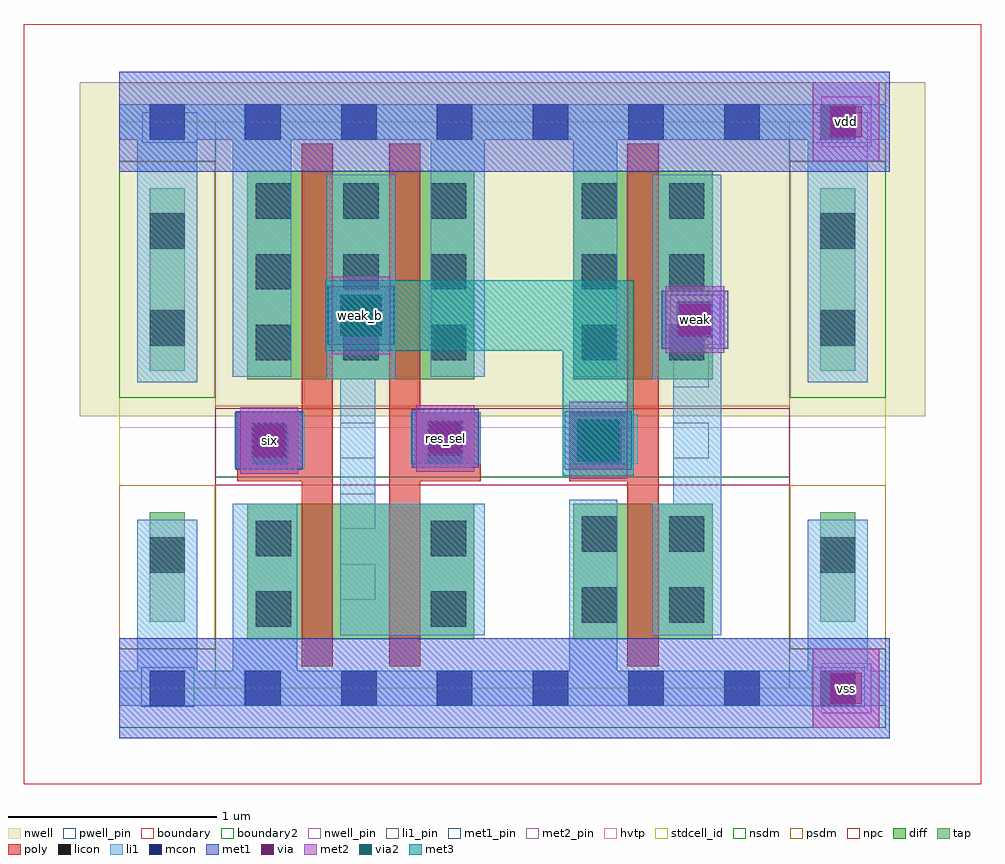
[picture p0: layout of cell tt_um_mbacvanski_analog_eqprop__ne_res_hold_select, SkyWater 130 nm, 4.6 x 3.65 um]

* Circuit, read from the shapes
.subckt tt_um_mbacvanski_analog_eqprop__ne_res_hold_select res_sel six vdd vss weak weak_b
XM1 n1 six vss vss sky130_fd_pr__nfet_01v8 w=0.65 l=0.15
XM2 weak_b res_sel n1 vss sky130_fd_pr__nfet_01v8 w=0.65 l=0.15
XM3 weak weak_b vss vss sky130_fd_pr__nfet_01v8 w=0.65 l=0.15
XM4 weak_b six vdd vdd sky130_fd_pr__pfet_01v8_hvt w=1 l=0.15
XM5 vdd res_sel weak_b vdd sky130_fd_pr__pfet_01v8_hvt w=1 l=0.15
XM6 weak weak_b vdd vdd sky130_fd_pr__pfet_01v8_hvt w=1 l=0.15
.ends

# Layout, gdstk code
import gdstk
lib = gdstk.Library(unit=1e-6, precision=1e-09)
def R(c, l, rs):  # rectangles x0, y0, x1, y1
    for r in rs: c.add(gdstk.rectangle(r[:2], r[2:], *l))
def A(c, l, x, y, w, h, nx, ny, dx, dy):  # array of equal rectangles
    R(c, l, [(x+i*dx, y+j*dy, x+i*dx+w, y+j*dy+h) for i in range(nx) for j in range(ny)])
def P(c, l, *ps):  # polygons
    for p in ps: c.add(gdstk.Polygon(p, *l))
nwell_pin = (64, 16)
nwell = (64, 20)
diff = (65, 20)
tap = (65, 44)
poly = (66, 20)
licon = (66, 44)
li1_pin = (67, 16)
li1 = (67, 20)
mcon = (67, 44)
met1_pin = (68, 16)
met1 = (68, 20)
via = (68, 44)
met2_pin = (69, 16)
met2 = (69, 20)
via2 = (69, 44)
met3 = (70, 20)
hvtp = (78, 44)
stdcell_id = (81, 4)
nsdm = (93, 44)
psdm = (94, 20)
npc = (95, 20)
pwell_pin = (122, 16)
boundary = (235, 4)
boundary2 = (236, 0)

sky130_fd_sc_hd__inv_1 = lib.new_cell('sky130_fd_sc_hd__inv_1')
R(sky130_fd_sc_hd__inv_1, nwell_pin, [(0.145,2.635,0.315,2.805), (0.145,2.635,0.315,2.805)])
R(sky130_fd_sc_hd__inv_1, nwell, [(-0.19,1.305,1.57,2.91)])
R(sky130_fd_sc_hd__inv_1, diff, [(0.34,0.235,1.01,0.885), (0.34,1.485,1.01,2.485)])
P(sky130_fd_sc_hd__inv_1, poly, [(0.6,0.105),(0.6,0.995),(0.32,0.995),(0.32,1.325),(0.6,1.325),(0.6,2.615),(0.75,2.615),(0.75,0.105)])
A(sky130_fd_sc_hd__inv_1, licon, 0.38, 1.575, 0.17, 0.17, 1, 3, 0, 0.34)
A(sky130_fd_sc_hd__inv_1, licon, 0.8, 1.575, 0.17, 0.17, 1, 3, 0, 0.34)
R(sky130_fd_sc_hd__inv_1, licon, [(0.38,0.315,0.55,0.485), (0.8,0.315,0.97,0.485), (0.38,0.655,0.55,0.825), (0.8,0.655,0.97,0.825), (0.4,1.075,0.57,1.245)])
R(sky130_fd_sc_hd__inv_1, li1_pin, [(0.36,1.105,0.53,1.275), (0.82,1.105,0.99,1.275), (0.82,1.445,0.99,1.615)])
R(sky130_fd_sc_hd__inv_1, li1, [(0,-0.085,1.38,0.085), (0.32,0.005,0.55,0.905), (0.32,1.075,0.65,1.315), (0.34,1.495,0.55,2.675), (0,2.635,1.38,2.805)])
P(sky130_fd_sc_hd__inv_1, li1, [(0.72,0.255),(0.72,0.885),(0.82,0.885),(0.82,1.485),(0.72,1.485),(0.72,2.465),(1.05,2.465),(1.05,0.255)])
A(sky130_fd_sc_hd__inv_1, mcon, 0.145, -0.085, 0.17, 0.17, 3, 2, 0.46, 2.72)
R(sky130_fd_sc_hd__inv_1, met1_pin, [(0.145,-0.085,0.315,0.085), (0.145,-0.085,0.315,0.085), (0.145,2.635,0.315,2.805), (0.145,2.635,0.315,2.805)])
R(sky130_fd_sc_hd__inv_1, hvtp, [(0,1.25,1.38,2.72)])
R(sky130_fd_sc_hd__inv_1, stdcell_id, [(0,0,1.38,2.72)])
R(sky130_fd_sc_hd__inv_1, nsdm, [(0,-0.19,1.38,1.015)])
R(sky130_fd_sc_hd__inv_1, psdm, [(0,1.355,1.38,2.91)])
R(sky130_fd_sc_hd__inv_1, npc, [(0,0.975,1.38,1.345)])
R(sky130_fd_sc_hd__inv_1, pwell_pin, [(0.145,-0.085,0.315,0.085), (0.145,-0.085,0.315,0.085)])
R(sky130_fd_sc_hd__inv_1, boundary2, [(0,0,1.38,2.72)])
sky130_fd_sc_hd__inv_1.add(gdstk.FlexPath([(0,0),(1.38,0)], 0.48, ends="flush", simple_path=True, layer=68, datatype=20))  # met1
sky130_fd_sc_hd__inv_1.add(gdstk.FlexPath([(0,2.72),(1.38,2.72)], 0.48, ends="flush", simple_path=True, layer=68, datatype=20))  # met1
sky130_fd_sc_hd__inv_1.add(gdstk.Label('A', (0.445,1.19), layer=67, texttype=5))
sky130_fd_sc_hd__inv_1.add(gdstk.Label('Y', (0.905,1.19), layer=67, texttype=5))
sky130_fd_sc_hd__inv_1.add(gdstk.Label('Y', (0.905,1.53), layer=67, texttype=5))
sky130_fd_sc_hd__inv_1.add(gdstk.Label('VPWR', (0.23,2.72), layer=68, texttype=5))
sky130_fd_sc_hd__inv_1.add(gdstk.Label('VGND', (0.23,0), layer=68, texttype=5))
sky130_fd_sc_hd__inv_1.add(gdstk.Label('inv_1', (0,0), layer=83, texttype=44))
sky130_fd_sc_hd__inv_1.add(gdstk.Label('VPB', (0.23,2.72), layer=64, texttype=5))
sky130_fd_sc_hd__inv_1.add(gdstk.Label('VNB', (0.23,0), layer=64, texttype=59))

sky130_fd_sc_hd__nand2_1 = lib.new_cell('sky130_fd_sc_hd__nand2_1')
R(sky130_fd_sc_hd__nand2_1, nwell_pin, [(0.14,2.635,0.31,2.805)])
R(sky130_fd_sc_hd__nand2_1, nwell, [(-0.19,1.305,1.57,2.91)])
R(sky130_fd_sc_hd__nand2_1, diff, [(0.155,0.235,1.245,0.885), (0.155,1.485,1.245,2.485)])
P(sky130_fd_sc_hd__nand2_1, poly, [(0.415,0.105),(0.415,0.995),(0.105,0.995),(0.105,1.325),(0.415,1.325),(0.415,2.615),(0.565,2.615),(0.565,0.105)],
  [(0.835,0.105),(0.835,2.615),(0.985,2.615),(0.985,1.325),(1.275,1.325),(1.275,0.995),(0.985,0.995),(0.985,0.105)])
A(sky130_fd_sc_hd__nand2_1, licon, 0.195, 1.575, 0.17, 0.17, 3, 3, 0.42, 0.34)
R(sky130_fd_sc_hd__nand2_1, licon, [(0.195,0.295,0.365,0.465), (1.035,0.295,1.205,0.465), (0.195,0.635,0.365,0.805), (1.035,0.635,1.205,0.805), (0.18,1.075,0.35,1.245), (1.02,1.075,1.19,1.245)])
A(sky130_fd_sc_hd__nand2_1, li1_pin, 0.14, 1.105, 0.17, 0.17, 3, 1, 0.46, 0)
R(sky130_fd_sc_hd__nand2_1, li1_pin, [(0.6,0.425,0.77,0.595), (0.6,0.765,0.77,0.935)])
R(sky130_fd_sc_hd__nand2_1, li1, [(0.095,1.055,0.43,1.325), (0.94,1.075,1.275,1.325)])
P(sky130_fd_sc_hd__nand2_1, li1, [(0.6,0.255),(0.6,1.485),(0.535,1.485),(0.535,2.465),(0.865,2.465),(0.865,1.485),(0.77,1.485),(0.77,0.885),(1.295,0.885),(1.295,0.255)],
  [(0.085,1.495),(0.085,2.635),(0,2.635),(0,2.805),(1.38,2.805),(1.38,2.635),(1.295,2.635),(1.295,1.495),(1.035,1.495),(1.035,2.635),(0.365,2.635),(0.365,1.495)],
  [(0,-0.085),(0,0.085),(0.085,0.085),(0.085,0.885),(0.395,0.885),(0.395,0.085),(1.38,0.085),(1.38,-0.085)])
A(sky130_fd_sc_hd__nand2_1, mcon, 0.145, -0.085, 0.17, 0.17, 3, 2, 0.46, 2.72)
R(sky130_fd_sc_hd__nand2_1, met1_pin, [(0.14,-0.085,0.31,0.085), (0.14,2.635,0.31,2.805)])
R(sky130_fd_sc_hd__nand2_1, hvtp, [(0,1.25,1.38,2.72)])
R(sky130_fd_sc_hd__nand2_1, stdcell_id, [(0,0,1.38,2.72)])
R(sky130_fd_sc_hd__nand2_1, nsdm, [(0,-0.19,1.38,1.015)])
R(sky130_fd_sc_hd__nand2_1, psdm, [(0,1.355,1.38,2.91)])
R(sky130_fd_sc_hd__nand2_1, npc, [(0,0.975,1.38,1.345)])
R(sky130_fd_sc_hd__nand2_1, pwell_pin, [(0.14,-0.085,0.31,0.085)])
R(sky130_fd_sc_hd__nand2_1, boundary2, [(0,0,1.38,2.72)])
sky130_fd_sc_hd__nand2_1.add(gdstk.FlexPath([(0,0),(1.38,0)], 0.48, ends="flush", simple_path=True, layer=68, datatype=20))  # met1
sky130_fd_sc_hd__nand2_1.add(gdstk.FlexPath([(0,2.72),(1.38,2.72)], 0.48, ends="flush", simple_path=True, layer=68, datatype=20))  # met1
sky130_fd_sc_hd__nand2_1.add(gdstk.Label('A', (1.145,1.19), layer=67, texttype=5))
sky130_fd_sc_hd__nand2_1.add(gdstk.Label('B', (0.225,1.19), layer=67, texttype=5))
sky130_fd_sc_hd__nand2_1.add(gdstk.Label('Y', (0.685,0.51), layer=67, texttype=5))
sky130_fd_sc_hd__nand2_1.add(gdstk.Label('Y', (0.685,0.85), layer=67, texttype=5))
sky130_fd_sc_hd__nand2_1.add(gdstk.Label('Y', (0.685,1.19), layer=67, texttype=5))
sky130_fd_sc_hd__nand2_1.add(gdstk.Label('VPWR', (0.225,2.72), layer=68, texttype=5))
sky130_fd_sc_hd__nand2_1.add(gdstk.Label('VGND', (0.23,0), layer=68, texttype=5))
sky130_fd_sc_hd__nand2_1.add(gdstk.Label('nand2_1', (0,0), layer=83, texttype=44))
sky130_fd_sc_hd__nand2_1.add(gdstk.Label('VPB', (0.225,2.72), layer=64, texttype=5))
sky130_fd_sc_hd__nand2_1.add(gdstk.Label('VNB', (0.225,0), layer=64, texttype=59))

sky130_fd_sc_hd__tapvpwr = lib.new_cell('sky130_fd_sc_hd__tapvpwrvgnd_1')
R(sky130_fd_sc_hd__tapvpwr, nwell, [(-0.19,1.305,0.65,2.91)])
R(sky130_fd_sc_hd__tapvpwr, tap, [(0.145,0.32,0.315,0.845), (0.145,1.525,0.315,2.4)])
R(sky130_fd_sc_hd__tapvpwr, licon, [(0.145,0.555,0.315,0.725), (0.145,1.645,0.315,1.815), (0.145,2.11,0.315,2.28)])
R(sky130_fd_sc_hd__tapvpwr, li1, [(0,-0.085,0.46,0.085), (0.085,0,0.375,0.81), (0.085,1.47,0.375,2.72), (0,2.635,0.46,2.805)])
R(sky130_fd_sc_hd__tapvpwr, mcon, [(0.145,-0.085,0.315,0.085), (0.145,2.635,0.315,2.805)])
R(sky130_fd_sc_hd__tapvpwr, met1_pin, [(0.105,-0.09,0.36,0.1), (0.11,2.62,0.375,2.765)])
R(sky130_fd_sc_hd__tapvpwr, met1, [(0,-0.24,0.46,0.24), (0,2.48,0.46,2.96)])
R(sky130_fd_sc_hd__tapvpwr, hvtp, [(0,1.25,0.46,2.72)])
R(sky130_fd_sc_hd__tapvpwr, stdcell_id, [(0,0,0.46,2.72)])
R(sky130_fd_sc_hd__tapvpwr, nsdm, [(0,-0.19,0.46,0.19), (0,1.395,0.46,2.53)])
R(sky130_fd_sc_hd__tapvpwr, psdm, [(0,0.19,0.46,0.975), (0,2.53,0.46,2.91)])
sky130_fd_sc_hd__tapvpwr.add(gdstk.Label('VGND', (0.23,0), layer=68, texttype=5))
sky130_fd_sc_hd__tapvpwr.add(gdstk.Label('VPWR', (0.23,2.72), layer=68, texttype=5))
sky130_fd_sc_hd__tapvpwr.add(gdstk.Label('tapvpwrvgnd_1', (0,0), layer=83, texttype=44))

tt_um_mbacvanski_analog_ = lib.new_cell('tt_um_mbacvanski_analog_eqprop__ne_res_hold_select')
R(tt_um_mbacvanski_analog_, mcon, [(1.095,1.565,1.265,1.735), (2.675,1.565,2.845,1.735), (1.94,1.575,2.11,1.745), (3.14,2.145,3.31,2.315), (1.535,2.165,1.705,2.335)])
R(tt_um_mbacvanski_analog_, met1, [(0.46,0.22,4.16,0.7), (1.02,1.51,1.34,1.79), (2.6,1.51,2.92,1.79), (1.865,1.52,2.185,1.8), (3.065,2.09,3.385,2.37), (1.46,2.11,1.78,2.39), (0.46,2.94,4.16,3.42)])
R(tt_um_mbacvanski_analog_, via, [(3.875,0.385,4.025,0.535), (1.105,1.575,1.255,1.725), (2.685,1.575,2.835,1.725), (1.95,1.585,2.1,1.735), (3.15,2.155,3.3,2.305), (1.545,2.175,1.695,2.325), (3.875,3.105,4.025,3.255)])
R(tt_um_mbacvanski_analog_, met2_pin, [(3.83,0.34,4.07,0.58), (1.06,1.53,1.3,1.77), (1.905,1.54,2.145,1.78), (3.105,2.11,3.345,2.35), (1.5,2.13,1.74,2.37), (3.83,3.06,4.07,3.3)])
R(tt_um_mbacvanski_analog_, met2, [(3.79,0.27,4.11,0.65), (2.62,1.465,2.9,1.835), (1.04,1.49,1.32,1.81), (2.62,1.49,2.9,1.81), (1.885,1.5,2.165,1.82), (1.48,2.065,1.76,2.435), (3.085,2.07,3.365,2.39), (1.48,2.09,1.76,2.41), (3.79,2.99,4.11,3.37)])
R(tt_um_mbacvanski_analog_, via2, [(2.66,1.55,2.86,1.75), (1.52,2.15,1.72,2.35)])
R(tt_um_mbacvanski_analog_, met3, [(2.59,1.48,2.93,2.42), (2.59,1.48,2.93,1.82), (1.45,2.08,2.93,2.42), (1.45,2.08,1.79,2.42)])
R(tt_um_mbacvanski_analog_, boundary, [(0,0,4.6,3.65)])
tt_um_mbacvanski_analog_.add(gdstk.Reference(sky130_fd_sc_hd__inv_1, (2.3,0.46)))
tt_um_mbacvanski_analog_.add(gdstk.Reference(sky130_fd_sc_hd__nand2_1, (0.92,0.46)))
tt_um_mbacvanski_analog_.add(gdstk.Reference(sky130_fd_sc_hd__tapvpwr, (0.46,0.46)))
tt_um_mbacvanski_analog_.add(gdstk.Reference(sky130_fd_sc_hd__tapvpwr, (3.68,0.46)))
tt_um_mbacvanski_analog_.add(gdstk.Label('vss', (3.95,0.46), layer=69, texttype=5))
tt_um_mbacvanski_analog_.add(gdstk.Label('vdd', (3.95,3.18), layer=69, texttype=5))
tt_um_mbacvanski_analog_.add(gdstk.Label('weak_b', (1.62,2.25), layer=69, texttype=5))
tt_um_mbacvanski_analog_.add(gdstk.Label('six', (1.18,1.65), layer=69, texttype=5))
tt_um_mbacvanski_analog_.add(gdstk.Label('weak', (3.225,2.23), layer=69, texttype=5))
tt_um_mbacvanski_analog_.add(gdstk.Label('res_sel', (2.025,1.66), layer=69, texttype=5))

lib.write_gds('tt_um_mbacvanski_analog_eqprop__ne_res_hold_select.gds')
